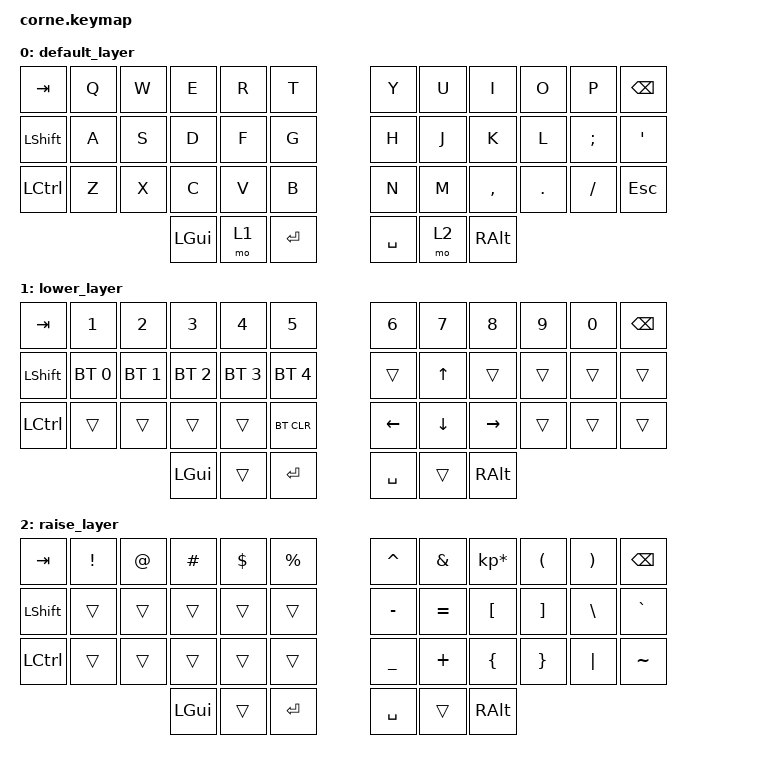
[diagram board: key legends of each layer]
/*
 * Copyright (c) 2020 The ZMK Contributors
 *
 * SPDX-License-Identifier: MIT
 */

#include <behaviors.dtsi>
#include <dt-bindings/zmk/keys.h>
#include <dt-bindings/zmk/bt.h>

/ {
        keymap {
                compatible = "zmk,keymap";

                default_layer {
// -----------------------------------------------------------------------------------------
// |  TAB |  Q  |  W  |  E  |  R  |  T  |   |  Y  |  U   |  I  |  O  |  P  | BKSP |
// | SHFT |  A  |  S  |  D  |  F  |  G  |   |  H  |  J   |  K  |  L  |  ;  |  '   |
// | CTRL |  Z  |  X  |  C  |  V  |  B  |   |  N  |  M   |  ,  |  .  |  /  | ESC  |
//                    | GUI | LWR | ENT |   | SPC | RSE  | ALT |
                        bindings = <
   &kp TAB   &kp Q &kp W &kp E &kp R &kp T   &kp Y     &kp U  &kp I     &kp O   &kp P    &kp BSPC
   &kp LSHFT &kp A &kp S &kp D &kp F &kp G   &kp H     &kp J  &kp K     &kp L   &kp SEMI &kp SQT
   &kp LCTRL &kp Z &kp X &kp C &kp V &kp B   &kp N     &kp M  &kp COMMA &kp DOT &kp FSLH &kp ESC
                  &kp LGUI &mo 1 &kp RET     &kp SPACE &mo 2  &kp RALT
                        >;
                };
                lower_layer {
// -----------------------------------------------------------------------------------------
// |  TAB |  1  |  2  |  3   |   4   |  5  |   |  6  |  7  |  8  |  9  |  0  | BKSP |
// | SHFT | BT1 | BT2 | BT3  |  BT4  | BT5 |   |     | UP  |     |     |     |      |
// | CTRL |     | CUR | COPY | PASTE |BTCLR|   | LFT | DWN | RGT |     |     |      |
//                    | GUI  |       | ENT |   | SPC |     | ALT |
                        bindings = <
   &kp TAB    &kp N1       &kp N2       &kp N3       &kp N4           &kp N5         &kp N6      &kp N7      &kp N8     &kp N9    &kp N0 &kp BSPC
   &kp LSHFT  &bt BT_SEL 0 &bt BT_SEL 1 &bt BT_SEL 2 &bt BT_SEL 3     &bt BT_SEL 4   &trans      &kp UP      &trans     &trans    &trans &trans
   &kp LCTRL  &trans       &trans       &trans       &trans           &bt BT_CLR     &kp LEFT    &kp DOWN    &kp RIGHT  &trans    &trans &trans
                          	        &kp LGUI     &trans           &kp RET        &kp SPACE   &trans      &kp RALT
                        >;
                };

                raise_layer {
// -----------------------------------------------------------------------------------------
// |  TAB |  !  |  @  |  #  |  $  |  %  |   |  ^  |  &  |  *  |  (  |  )  | BKSP |
// | SHFT |     |     |     |     |     |   |  -  |  =  |  [  |  ]  |  \  |  `   |
// | CTRL |     |     |     |     |     |   |  _  |  +  |  {  |  }  | "|" |  ~   |
//                    | GUI |     | ENT |   | SPC |     | ALT |
                        bindings = <
   &kp  TAB  &kp EXCL &kp AT &kp HASH &kp DLLR &kp PRCNT   &kp CARET &kp AMPS  &kp KP_MULTIPLY &kp LPAR &kp RPAR &kp BSPC
   &kp LSHFT &trans   &trans &trans   &trans   &trans      &kp MINUS &kp EQUAL &kp LBKT        &kp RBKT &kp BSLH &kp GRAVE
   &kp LCTRL &trans   &trans &trans   &trans   &trans      &kp UNDER &kp PLUS  &kp LBRC        &kp RBRC &kp PIPE &kp TILDE
                    	     &kp LGUI &trans   &kp RET     &kp SPACE   &trans  &kp RALT
                        >;
                };
        };
};
